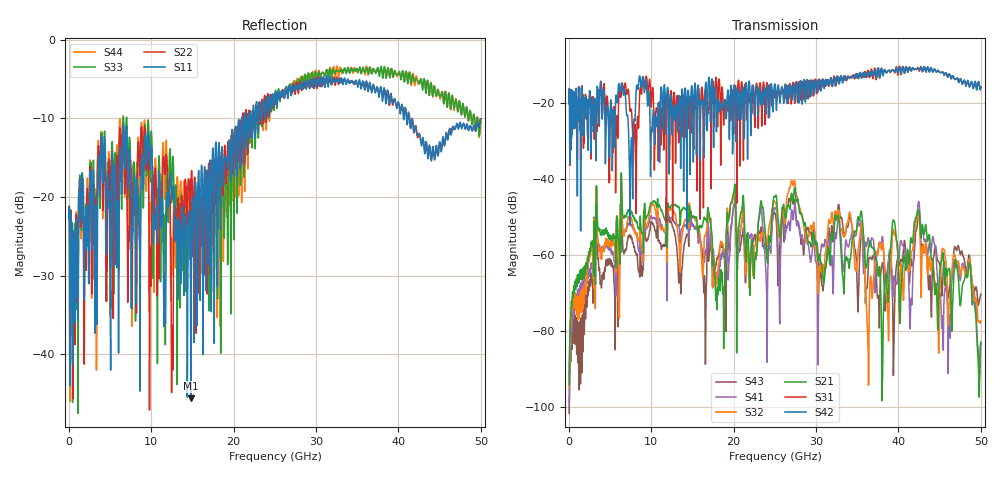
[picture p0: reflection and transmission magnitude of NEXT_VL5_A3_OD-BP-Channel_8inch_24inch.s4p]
#	Hz	S	RI	R	50
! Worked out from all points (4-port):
!   2500 points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, 20 MHz to 50 GHz, reference 50 ohm
!   strongest paths, dB at 20 MHz, 12.52 GHz, 25.02 GHz, 37.52 GHz, 50 GHz:
!     S42: -20.2, -28.0, -15.3, -11.1, -15.9
!     S31: -20.3, -23.0, -17.3, -11.0, -15.9
!     S21: -94.2, -46.9, -44.6, -65.4, -83.0
!     S32: -95.1, -48.1, -46.2, -59.7, -77.4
!     S41: -99.4, -50.6, -47.7, -58.6, -83.1
!     S43: -101.7, -52.2, -49.2, -70.8, -70.4
!   lowest |S11| = -45.6 dB at 14.78 GHz (marker M1), VSWR 1.01, Z = 49.9 - j0.522 ohm
!   |S11| at or under -10 dB: start of sweep to 20.96 GHz; 21.03 GHz to 21.31 GHz (275.5 MHz wide, 1.3 % of centre); 41.33 GHz to end of sweep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
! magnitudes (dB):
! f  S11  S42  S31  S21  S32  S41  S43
! 20 MHz  -22.8  -20.2  -20.3  -94.2  -95.1  -99.4  -101.7
! 14.78 GHz  -45.6  -19.7  -28.1  -48.6  -48.4  -50.7  -49.9
! 35.36 GHz  -5.6  -12.0  -13.0  -49.7  -54.2  -51.5  -57.1
! 38.08 GHz  -7.7  -12.6  -12.7  -89.2  -57.0  -55.5  -62.1
! 41.5 GHz  -10.9  -11.4  -11.6  -55.5  -59.9  -72.0  -61.3
! 42.4 GHz  -12.1  -11.0  -10.9  -48.3  -49.3  -46.3  -49.6
! 50 GHz  -10.1  -15.9  -15.9  -83.0  -77.4  -83.1  -70.4
